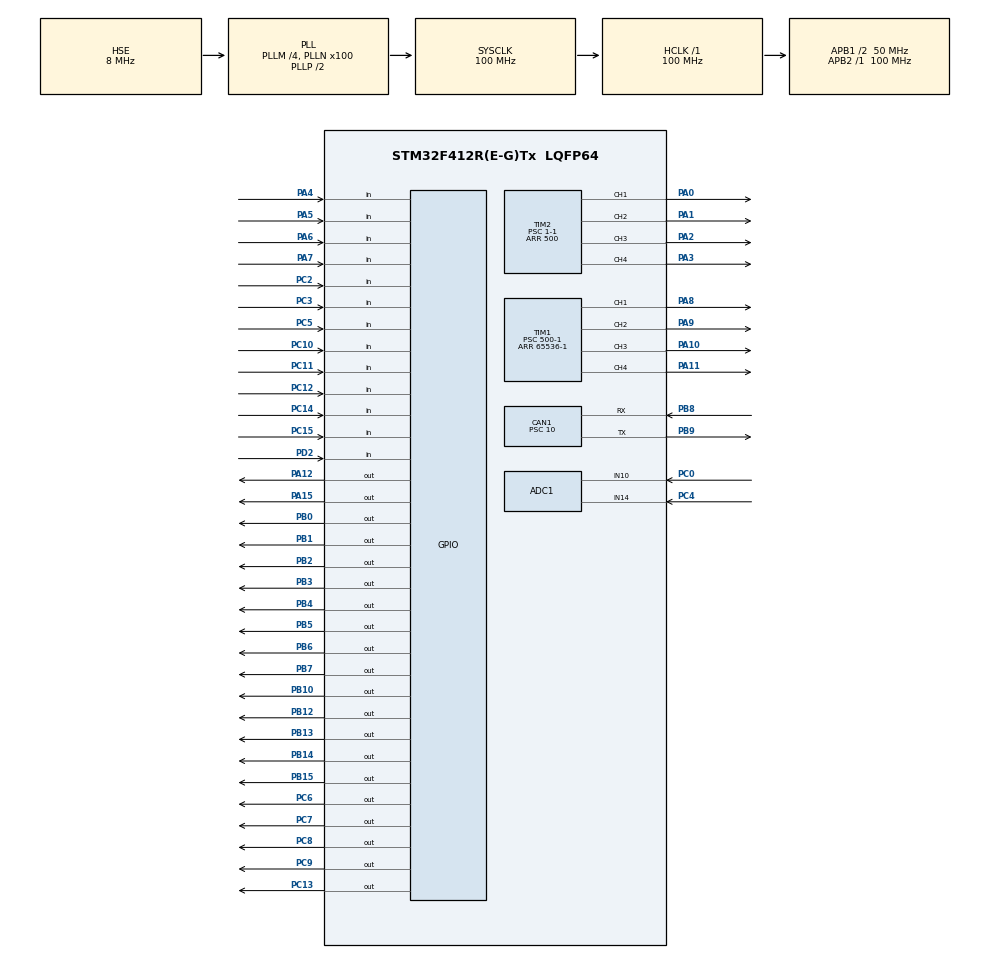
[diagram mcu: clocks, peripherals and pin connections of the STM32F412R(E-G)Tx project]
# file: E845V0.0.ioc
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ADC1.Channel-1\#ChannelRegularConversion=ADC_CHANNEL_10
ADC1.Channel-11\#ChannelRegularConversion=ADC_CHANNEL_14
ADC1.ClockPrescaler=ADC_CLOCK_SYNC_PCLK_DIV4
ADC1.ContinuousConvMode=DISABLE
ADC1.DiscontinuousConvMode=ENABLE
ADC1.InjNumberOfConversion=0
ADC1.NbrOfConversion=2
ADC1.NbrOfConversionFlag=1
ADC1.Rank-1\#ChannelRegularConversion=1
ADC1.Rank-11\#ChannelRegularConversion=2
ADC1.SamplingTime-1\#ChannelRegularConversion=ADC_SAMPLETIME_56CYCLES
ADC1.SamplingTime-11\#ChannelRegularConversion=ADC_SAMPLETIME_56CYCLES
ADC1.master=1
CAN1.BS1=CAN_BS1_3TQ
CAN1.BS2=CAN_BS2_1TQ
CAN1.CalculateBaudRate=1000000
CAN1.CalculateTimeBit=1000
CAN1.CalculateTimeQuantum=200.0
CAN1.NART=ENABLE
CAN1.Prescaler=10
IWDG.Prescaler=IWDG_PRESCALER_256
Mcu.Family=STM32F4
Mcu.Name=STM32F412R(E-G)Tx
Mcu.Package=LQFP64
NVIC.CAN1_RX0_IRQn=true\:0\:0\:false\:false\:true\:true\:true\:true
NVIC.PriorityGroup=NVIC_PRIORITYGROUP_4
NVIC.TIM1_CC_IRQn=true\:0\:0\:true\:false\:true\:true\:true\:true
PA0.GPIO_Speed=GPIO_SPEED_FREQ_HIGH
PA0.Signal=S_TIM2_CH1_ETR
PA1.GPIO_Speed=GPIO_SPEED_FREQ_HIGH
PA1.Signal=S_TIM2_CH2
PA10.GPIO_PuPd=GPIO_PULLDOWN
PA10.GPIO_Speed=GPIO_SPEED_FREQ_HIGH
PA10.Signal=S_TIM1_CH3
PA11.GPIO_PuPd=GPIO_PULLDOWN
PA11.GPIO_Speed=GPIO_SPEED_FREQ_HIGH
PA11.Signal=S_TIM1_CH4
PA12.GPIO_PuPd=GPIO_PULLDOWN
PA12.Signal=GPIO_Output
PA13.Mode=Serial_Wire
PA13.Signal=SYS_JTMS-SWDIO
PA14.Mode=Serial_Wire
PA14.Signal=SYS_JTCK-SWCLK
PA15.GPIO_PuPd=GPIO_PULLDOWN
PA15.Signal=GPIO_Output
PA2.GPIO_Speed=GPIO_SPEED_FREQ_HIGH
PA2.Signal=S_TIM2_CH3
PA3.GPIO_Speed=GPIO_SPEED_FREQ_HIGH
PA3.Signal=S_TIM2_CH4
PA4.Signal=GPIO_Input
PA5.Signal=GPIO_Input
PA6.Signal=GPIO_Input
PA7.Signal=GPIO_Input
PA8.GPIO_PuPd=GPIO_PULLDOWN
PA8.GPIO_Speed=GPIO_SPEED_FREQ_HIGH
PA8.Signal=S_TIM1_CH1
PA9.GPIO_PuPd=GPIO_PULLDOWN
PA9.GPIO_Speed=GPIO_SPEED_FREQ_HIGH
PA9.Signal=S_TIM1_CH2
PB0.GPIO_ModeDefaultOutputPP=GPIO_MODE_OUTPUT_PP
PB0.GPIO_PuPd=GPIO_PULLDOWN
PB0.PinState=GPIO_PIN_RESET
PB0.Signal=GPIO_Output
PB1.GPIO_PuPd=GPIO_PULLDOWN
PB1.PinState=GPIO_PIN_RESET
PB1.Signal=GPIO_Output
PB10.GPIO_PuPd=GPIO_PULLDOWN
PB10.Signal=GPIO_Output
PB12.GPIO_PuPd=GPIO_PULLDOWN
PB12.PinState=GPIO_PIN_RESET
PB12.Signal=GPIO_Output
PB13.GPIO_PuPd=GPIO_PULLDOWN
PB13.PinState=GPIO_PIN_RESET
PB13.Signal=GPIO_Output
PB14.GPIO_PuPd=GPIO_PULLDOWN
PB14.PinState=GPIO_PIN_RESET
PB14.Signal=GPIO_Output
PB15.GPIO_PuPd=GPIO_PULLDOWN
PB15.PinState=GPIO_PIN_RESET
PB15.Signal=GPIO_Output
PB2.GPIO_PuPd=GPIO_PULLDOWN
PB2.PinState=GPIO_PIN_RESET
PB2.Signal=GPIO_Output
PB3.GPIO_PuPd=GPIO_PULLDOWN
PB3.PinState=GPIO_PIN_RESET
PB3.Signal=GPIO_Output
PB4.GPIO_PuPd=GPIO_PULLDOWN
PB4.PinState=GPIO_PIN_RESET
PB4.Signal=GPIO_Output
PB5.GPIO_PuPd=GPIO_PULLDOWN
PB5.PinState=GPIO_PIN_RESET
PB5.Signal=GPIO_Output
PB6.GPIO_PuPd=GPIO_PULLDOWN
PB6.PinState=GPIO_PIN_RESET
PB6.Signal=GPIO_Output
PB7.GPIO_PuPd=GPIO_PULLDOWN
PB7.PinState=GPIO_PIN_RESET
PB7.Signal=GPIO_Output
PB8.GPIO_Speed=GPIO_SPEED_FREQ_VERY_HIGH
PB8.Mode=CAN_Activate
PB8.Signal=CAN1_RX
PB9.GPIO_Speed=GPIO_SPEED_FREQ_VERY_HIGH
PB9.Mode=CAN_Activate
PB9.Signal=CAN1_TX
PC0.Signal=ADCx_IN10
PC10.Signal=GPIO_Input
PC11.Signal=GPIO_Input
PC12.Signal=GPIO_Input
PC13.GPIO_PuPd=GPIO_PULLUP
PC13.PinState=GPIO_PIN_SET
PC13.Signal=GPIO_Output
PC14-OSC32_IN.Signal=GPIO_Input
PC15-OSC32_OUT.Signal=GPIO_Input
PC2.Signal=GPIO_Input
PC3.Signal=GPIO_Input
PC4.Signal=ADCx_IN14
PC5.Signal=GPIO_Input
PC6.GPIO_PuPd=GPIO_PULLDOWN
PC6.Signal=GPIO_Output
PC7.GPIO_PuPd=GPIO_PULLDOWN
PC7.Signal=GPIO_Output
PC8.GPIO_PuPd=GPIO_PULLDOWN
PC8.Signal=GPIO_Output
PC9.GPIO_PuPd=GPIO_PULLDOWN
PC9.Signal=GPIO_Output
PD2.Signal=GPIO_Input
PH0\ -\ OSC_IN.Mode=HSE-External-Oscillator
PH0\ -\ OSC_IN.Signal=RCC_OSC_IN
PH1\ -\ OSC_OUT.Mode=HSE-External-Oscillator
PH1\ -\ OSC_OUT.Signal=RCC_OSC_OUT
ProjectManager.HeapSize=0x200
ProjectManager.StackSize=0x400
ProjectManager.TargetToolchain=MDK-ARM V5.32
RCC.AHBFreq_Value=100000000
RCC.APB1CLKDivider=RCC_HCLK_DIV2
RCC.APB1Freq_Value=50000000
RCC.APB1TimFreq_Value=100000000
RCC.APB2Freq_Value=100000000
RCC.APB2TimFreq_Value=100000000
RCC.CortexFreq_Value=100000000
RCC.HCLKFreq_Value=100000000
RCC.HSE_VALUE=8000000
RCC.PLLM=4
RCC.PLLN=100
RCC.PLLSourceVirtual=RCC_PLLSOURCE_HSE
RCC.SYSCLKFreq_VALUE=100000000
RCC.SYSCLKSource=RCC_SYSCLKSOURCE_PLLCLK
RCC.USBFreq_Value=100000000
RCC.VCOOutputFreq_Value=200000000
SH.ADCx_IN10.0=ADC1_IN10,IN10
SH.ADCx_IN14.0=ADC1_IN14,IN14
SH.S_TIM1_CH1.0=TIM1_CH1,Output Compare1 CH1
SH.S_TIM1_CH2.0=TIM1_CH2,Output Compare2 CH2
SH.S_TIM1_CH3.0=TIM1_CH3,Output Compare3 CH3
SH.S_TIM1_CH4.0=TIM1_CH4,Output Compare4 CH4
SH.S_TIM2_CH1_ETR.0=TIM2_CH1,PWM Generation1 CH1
SH.S_TIM2_CH2.0=TIM2_CH2,PWM Generation2 CH2
SH.S_TIM2_CH3.0=TIM2_CH3,PWM Generation3 CH3
SH.S_TIM2_CH4.0=TIM2_CH4,PWM Generation4 CH4
TIM1.AutoReloadPreload=TIM_AUTORELOAD_PRELOAD_ENABLE
TIM1.Channel-Output\ Compare1\ CH1=TIM_CHANNEL_1
TIM1.Channel-Output\ Compare2\ CH2=TIM_CHANNEL_2
TIM1.Channel-Output\ Compare3\ CH3=TIM_CHANNEL_3
TIM1.Channel-Output\ Compare4\ CH4=TIM_CHANNEL_4
TIM1.OC1Preload=DISABLE
TIM1.OC2Preload=DISABLE
TIM1.OCMode_1=TIM_OCMODE_TOGGLE
TIM1.OCMode_2=TIM_OCMODE_TOGGLE
TIM1.OCMode_3=TIM_OCMODE_TOGGLE
TIM1.OCMode_4=TIM_OCMODE_TOGGLE
TIM1.Period=65536-1
TIM1.Prescaler=500-1
TIM1.Pulse-Output\ Compare1\ CH1=0
TIM1.Pulse-Output\ Compare2\ CH2=0
TIM1.Pulse-Output\ Compare3\ CH3=0
TIM1.Pulse-Output\ Compare4\ CH4=0
TIM2.AutoReloadPreload=TIM_AUTORELOAD_PRELOAD_ENABLE
TIM2.Channel-PWM\ Generation1\ CH1=TIM_CHANNEL_1
TIM2.Channel-PWM\ Generation2\ CH2=TIM_CHANNEL_2
TIM2.Channel-PWM\ Generation3\ CH3=TIM_CHANNEL_3
TIM2.Channel-PWM\ Generation4\ CH4=TIM_CHANNEL_4
TIM2.Period=500
TIM2.Prescaler=1-1
TIM2.Pulse-PWM\ Generation1\ CH1=0
TIM2.Pulse-PWM\ Generation2\ CH2=0
TIM2.Pulse-PWM\ Generation3\ CH3=0
TIM2.Pulse-PWM\ Generation4\ CH4=0
VP_IWDG_VS_IWDG.Mode=IWDG_Activate
VP_TIM1_VS_ClockSourceINT.Mode=Internal
VP_TIM2_VS_ClockSourceINT.Mode=Internal
board=custom

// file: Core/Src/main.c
/* USER CODE BEGIN Header */
/**
  ******************************************************************************
  * @file           : main.c
  * @brief          : Main program body
  ******************************************************************************
  * @attention
  *
  * Copyright (c) 2022 STMicroelectronics.
  * All rights reserved.
  *
  * This software is licensed under terms that can be found in the LICENSE file
  * in the root directory of this software component.
  * If no LICENSE file comes with this software, it is provided AS-IS.
  *
  ******************************************************************************
  */
/* USER CODE END Header */
#include "main.h"
#include "adc.h"
#include "can.h"
#include "iwdg.h"
#include "tim.h"
#include "gpio.h"
/* USER CODE BEGIN Includes */
#include "Led.h"
#include "SolenoidValve.h"
#include "ADCVoltage.h"
#include "SenSor.h"
#include "MotorCurrent.h"
#include "MotorIo.h"
#include "ElectricMagnetApp.h"
#include "CanApp.h"
#include "Alarm.h"
/* USER CODE END Includes */

void SystemClock_Config(void);

/* USER CODE BEGIN 0 */

__IO uint16_t ADC_ConvertedValue12V;
float ADC_Vol_12V;

//unsigned int val=0xaaffffff,val2=0;

/* USER CODE END 0 */

int main(void)
{

  /* MCU Configuration--------------------------------------------------------*/

  /* Reset of all peripherals, Initializes the Flash interface and the Systick. */
  HAL_Init();

  /* Configure the system clock */
  SystemClock_Config();

  /* Initialize all configured peripherals */
  MX_GPIO_Init();
  MX_IWDG_Init();
  MX_CAN1_Init();
  MX_ADC1_Init();
  MX_TIM1_Init();
  MX_TIM2_Init();

  /* USER CODE BEGIN 2 */
  ElectricMagnetInit();

  /* USER CODE END 2 */

  /* Infinite loop */
  /* USER CODE BEGIN WHILE */
  while (1)
  {
	LedTask(500);

    /* USER CODE END WHILE */
    /* USER CODE BEGIN 3 */
    CanCmdAnalysisTask();
    MotorSensorStateLoad(&MotorSensorState);
    MotorSensorRequestReturnOperation(&MotorSensorState,&ProtocolCmd);
    AlarmTaskLoop(&AlarmSet);
    SolenidValveInOrOutTask_loop(&ProtocolCmd,&SZ_PowerTime);
    CalculateCoilResistanceOfSolenoidTask_loop(&ProtocolCmd,&CalculationOfResistance);
    SZ_CurrentSamplingFiltering(&CurrentSamplingClass);

  }
  /* USER CODE END 3 */
}

void SystemClock_Config(void)
{
  RCC_OscInitTypeDef RCC_OscInitStruct = {0};
  RCC_ClkInitTypeDef RCC_ClkInitStruct = {0};

  /** Configure the main internal regulator output voltage
  */
  __HAL_RCC_PWR_CLK_ENABLE();
  __HAL_PWR_VOLTAGESCALING_CONFIG(PWR_REGULATOR_VOLTAGE_SCALE1);

  /** Initializes the RCC Oscillators according to the specified parameters
  * in the RCC_OscInitTypeDef structure.
  */
  RCC_OscInitStruct.OscillatorType = RCC_OSCILLATORTYPE_LSI|RCC_OSCILLATORTYPE_HSE;
  RCC_OscInitStruct.HSEState = RCC_HSE_ON;
  RCC_OscInitStruct.LSIState = RCC_LSI_ON;
  RCC_OscInitStruct.PLL.PLLState = RCC_PLL_ON;
  RCC_OscInitStruct.PLL.PLLSource = RCC_PLLSOURCE_HSE;
  RCC_OscInitStruct.PLL.PLLM = 4;
  RCC_OscInitStruct.PLL.PLLN = 100;
  RCC_OscInitStruct.PLL.PLLP = RCC_PLLP_DIV2;
  RCC_OscInitStruct.PLL.PLLQ = 2;
  RCC_OscInitStruct.PLL.PLLR = 2;
  if (HAL_RCC_OscConfig(&RCC_OscInitStruct) != HAL_OK)
  {
    Error_Handler();
  }

  /** Initializes the CPU, AHB and APB buses clocks
  */
  RCC_ClkInitStruct.ClockType = RCC_CLOCKTYPE_HCLK|RCC_CLOCKTYPE_SYSCLK
                              |RCC_CLOCKTYPE_PCLK1|RCC_CLOCKTYPE_PCLK2;
  RCC_ClkInitStruct.SYSCLKSource = RCC_SYSCLKSOURCE_PLLCLK;
  RCC_ClkInitStruct.AHBCLKDivider = RCC_SYSCLK_DIV1;
  RCC_ClkInitStruct.APB1CLKDivider = RCC_HCLK_DIV2;
  RCC_ClkInitStruct.APB2CLKDivider = RCC_HCLK_DIV1;

  if (HAL_RCC_ClockConfig(&RCC_ClkInitStruct, FLASH_LATENCY_3) != HAL_OK)
  {
    Error_Handler();
  }
}

void Error_Handler(void)
{
  __disable_irq();
  while (1)
  {
  }
}
